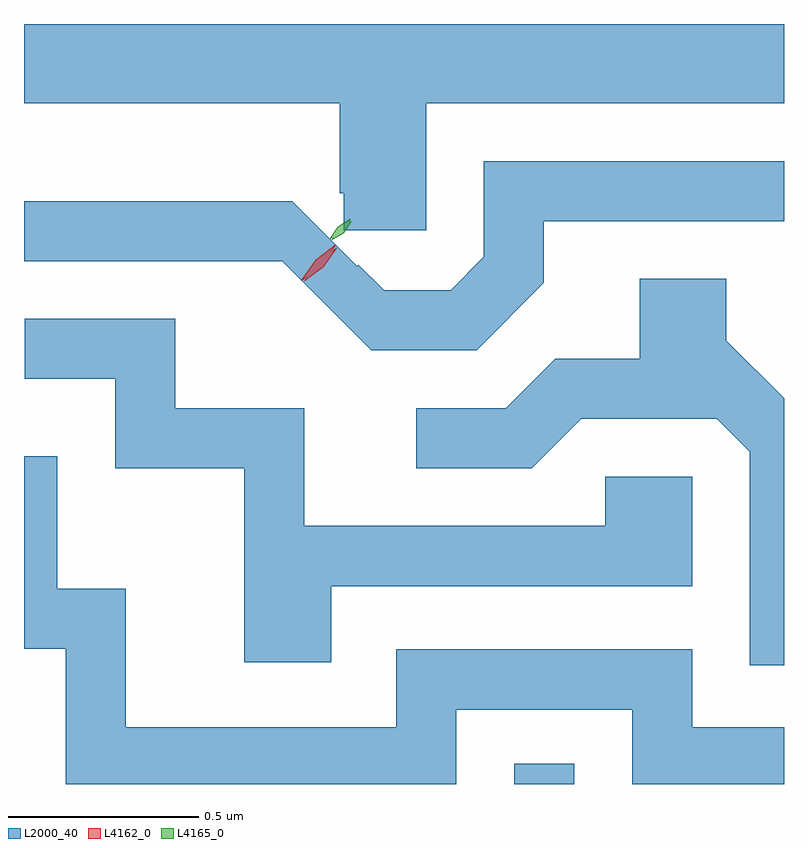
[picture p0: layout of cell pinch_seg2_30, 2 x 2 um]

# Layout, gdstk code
import gdstk
lib = gdstk.Library(unit=1e-6, precision=1e-09)
def R(c, l, rs):  # rectangles x0, y0, x1, y1
    for r in rs: c.add(gdstk.rectangle(r[:2], r[2:], *l))
def P(c, l, *ps):  # polygons
    for p in ps: c.add(gdstk.Polygon(p, *l))
L2000_40 = (2000, 40)
L4162_0 = (4162, 0)
L4165_0 = (4165, 0)

pinch_seg2_30 = lib.new_cell('pinch_seg2_30')
R(pinch_seg2_30, L2000_40, [(1664.821,1019.885,1664.979,1019.938)])
P(pinch_seg2_30, L2000_40, [(1664.589,1021.676),(1665.531,1021.676),(1665.531,1021.885),(1663.531,1021.885),(1663.531,1021.676),(1664.362,1021.676),(1664.362,1021.44),(1664.373,1021.44),(1664.373,1021.342),(1664.589,1021.342)],
  [(1664.899,1021.204),(1664.899,1021.366),(1665.531,1021.366),(1665.531,1021.524),(1664.741,1021.524),(1664.741,1021.272),(1664.654,1021.184),(1664.479,1021.184),(1664.411,1021.252),(1664.407,1021.249),(1664.237,1021.419),(1663.531,1021.419),(1663.531,1021.261),(1664.21,1021.261),(1664.445,1021.026),(1664.722,1021.026)],
  [(1665.531,1020.9),(1665.379,1021.052),(1665.379,1021.214),(1665.151,1021.214),(1665.151,1021.004),(1664.929,1021.004),(1664.799,1020.874),(1664.563,1020.874),(1664.563,1020.716),(1664.867,1020.716),(1664.997,1020.846),(1665.354,1020.846),(1665.441,1020.759),(1665.441,1020.198),(1665.531,1020.198)],
  [(1664.339,1020.406),(1665.289,1020.406),(1665.289,1020.694),(1665.061,1020.694),(1665.061,1020.564),(1664.269,1020.564),(1664.269,1020.874),(1663.929,1020.874),(1663.929,1021.109),(1663.533,1021.109),(1663.533,1020.951),(1663.771,1020.951),(1663.771,1020.716),(1664.111,1020.716),(1664.111,1020.206),(1664.339,1020.206)],
  [(1664.669,1020.081),(1665.131,1020.081),(1665.131,1019.885),(1665.531,1019.885),(1665.531,1020.034),(1665.289,1020.034),(1665.289,1020.239),(1664.511,1020.239),(1664.511,1020.034),(1663.799,1020.034),(1663.799,1020.399),(1663.619,1020.399),(1663.619,1020.748),(1663.531,1020.748),(1663.531,1020.241),(1663.641,1020.241),(1663.641,1019.885),(1664.669,1019.885)])
P(pinch_seg2_30, L4162_0, [(1664.261,1021.21),(1664.261,1021.211),(1664.299,1021.264),(1664.35,1021.304),(1664.351,1021.304),(1664.351,1021.303),(1664.313,1021.25),(1664.262,1021.21)],
  [(1664.268,1021.208),(1664.268,1021.208),(1664.304,1021.259),(1664.354,1021.296),(1664.354,1021.296),(1664.354,1021.295),(1664.318,1021.245),(1664.269,1021.208)])
P(pinch_seg2_30, L4165_0, [(1664.336,1021.319),(1664.336,1021.32),(1664.356,1021.352),(1664.389,1021.372),(1664.39,1021.372),(1664.39,1021.371),(1664.37,1021.338),(1664.336,1021.319)],
  [(1664.341,1021.317),(1664.341,1021.317),(1664.359,1021.349),(1664.391,1021.366),(1664.392,1021.366),(1664.392,1021.365),(1664.373,1021.334),(1664.342,1021.317)])

lib.write_gds('pinch_seg2_30.gds')
